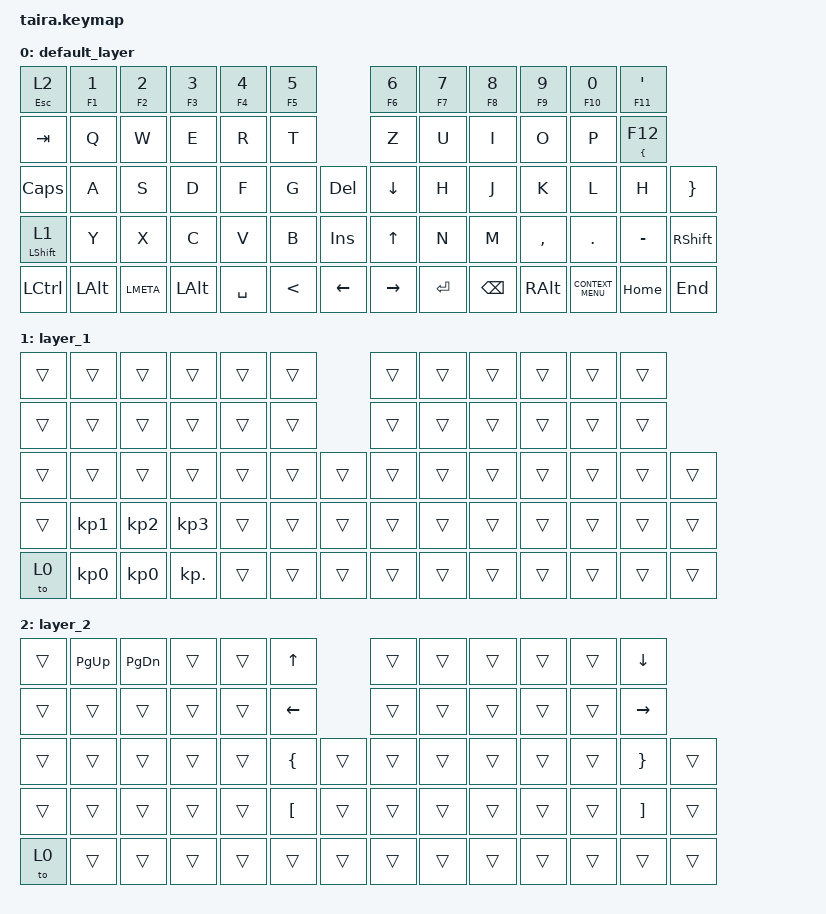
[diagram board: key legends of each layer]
/*
 * Copyright (c) 2020 The ZMK Contributors
 *
 * SPDX-License-Identifier: MIT
 */

#include <behaviors.dtsi>
#include <dt-bindings/zmk/keys.h>

/ {
    behaviors {
        kp_mo: kp_mo {
            compatible = "zmk,behavior-hold-tap";
            label = "KP_MO";
            bindings =
                <&kp>,
                <&mo>;

            #binding-cells = <2>;
            tapping-term-ms = <400>;
            flavor = "tap-preferred";
            hold-trigger-key-positions = <0>;
        };
        kp_kp: kp_kp {
            compatible = "zmk,behavior-hold-tap";
            label = "KP_KP";
            bindings =
                <&kp>,
                <&kp>;

            #binding-cells = <2>;
            tapping-term-ms = <200>;
            hold-trigger-key-positions = <1 2 3 4 5 11 10 9 8 7>;
        };
    };

    keymap {
        compatible = "zmk,keymap";

        default_layer {
            /* QWERTY
 * .----------------------------------------------------------------------------------------------------------------------------------.
 * |  `   |   1  |   2  |   3  |   4  |   5  |                                              |   6  |   7  |   8  |   9  |   0  | PScr |
 * |-------------+------+------+------+------+------+------+-------+-+-------+-------+------+------+------+------+------+------+------|
 * | ESC  |   Q  |   W  |   E  |   R  |   T  |                                              |   Y  |   U  |   I  |   O  |   P  |  \   |
 * |-------------+------+------+------+------+------+------+-------+-+-------+-------+------+------+------+------+------+------+------|
 * | Tab  |   A  |   S  |   D  |   F  |   G  |                                              |   H  |   J  |   K  |   L  |   ;  |  '   |
 * |-------------+------+------+------+------+------+------+-------+-+-------+-------+------+------+------+------+------+------+------|
 * | Shift|   Z  |   X  |   C  |   V  |   B  |      | Del  | PGDN  | | PGUP  | Home  |      |   N  |   M  |   ,  |   .  |   /  | Shift|
 * |-------------+------+------+------+------+------+------+-------+-+-------+-------+------+------+------+------+------+------+------|
 * | Ctrl | Alt  | Meta | Alt  |             | Meta | Space| Lower | | Raise | Enter | RAlt |             | LEFT | DOWN | UP   | RIGHT|
 * .----------------------------------------------------------------------------------------------------------------------------------.
 */

            bindings = <
&kp_mo ESC 2         &kp_kp F1 NUMBER_1  &kp_kp F2 NUMBER_2  &kp_kp F3 NUMBER_3  &kp_kp F4 NUMBER_4  &kp_kp F5 NUMBER_5                  &kp_kp F6 NUMBER_6  &kp_kp F7 NUMBER_7  &kp_kp F8 NUMBER_8  &kp_kp F9 NUMBER_9  &kp_kp F10 NUMBER_0  &kp_kp F11 APOS
&kp TAB              &kp Q               &kp W               &kp E               &kp R               &kp T                               &kp Z               &kp U               &kp I               &kp O               &kp P                &kp_kp LEFT_BRACE F12
&kp CAPS             &kp A               &kp S               &kp D               &kp F               &kp G               &kp DELETE      &kp DOWN            &kp H               &kp J               &kp K               &kp L                &kp H                  &kp RIGHT_BRACE
&kp_mo LEFT_SHIFT 1  &kp Y               &kp X               &kp C               &kp V               &kp B               &kp INSERT      &kp UP_ARROW        &kp N               &kp M               &kp COMMA           &kp DOT              &kp MINUS              &kp RIGHT_SHIFT
&kp LCTRL            &kp LALT            &kp LMETA           &kp LALT            &kp SPACE           &kp LESS_THAN       &kp LEFT_ARROW  &kp RIGHT           &kp ENTER           &kp BACKSPACE       &kp RIGHT_ALT       &kp K_CONTEXT_MENU   &kp HOME               &kp END
            >;
        };

        layer_1 {
            bindings = <
&trans  &trans           &trans           &trans           &trans  &trans          &trans  &trans  &trans  &trans  &trans  &trans
&trans  &trans           &trans           &trans           &trans  &trans          &trans  &trans  &trans  &trans  &trans  &trans
&trans  &trans           &trans           &trans           &trans  &trans  &trans  &trans  &trans  &trans  &trans  &trans  &trans  &trans
&trans  &kp KP_NUMBER_1  &kp KP_NUMBER_2  &kp KP_NUMBER_3  &trans  &trans  &trans  &trans  &trans  &trans  &trans  &trans  &trans  &trans
&to 0   &kp KP_NUMBER_0  &kp KP_NUMBER_0  &kp KP_DOT       &trans  &trans  &trans  &trans  &trans  &trans  &trans  &trans  &trans  &trans
            >;
        };

        layer_2 {
            bindings = <
&trans  &kp PAGE_UP  &kp PG_DN  &trans  &trans  &kp UP_ARROW              &trans  &trans  &trans  &trans  &trans  &kp DOWN
&trans  &trans       &trans     &trans  &trans  &kp LEFT                  &trans  &trans  &trans  &trans  &trans  &kp RIGHT
&trans  &trans       &trans     &trans  &trans  &kp LEFT_BRACE    &trans  &trans  &trans  &trans  &trans  &trans  &kp RIGHT_BRACE    &trans
&trans  &trans       &trans     &trans  &trans  &kp LEFT_BRACKET  &trans  &trans  &trans  &trans  &trans  &trans  &kp RIGHT_BRACKET  &trans
&to 0   &trans       &trans     &trans  &trans  &trans            &trans  &trans  &trans  &trans  &trans  &trans  &trans             &trans
            >;
        };
    };
};
